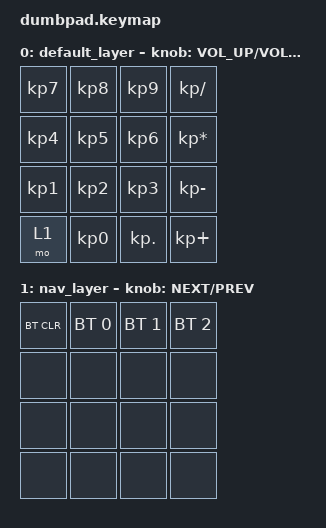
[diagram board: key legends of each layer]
#include <behaviors.dtsi>
#include <dt-bindings/zmk/keys.h>
#include <dt-bindings/zmk/bt.h>

/ {
    keymap {
        compatible = "zmk,keymap";

        default_layer {
            bindings = <
                &kp KP_N7    &kp KP_N8    &kp KP_N9    &kp KP_DIVIDE
                &kp KP_N4    &kp KP_N5    &kp KP_N6    &kp KP_MULTIPLY
                &kp KP_N1    &kp KP_N2    &kp KP_N3    &kp KP_MINUS
                &mo 1        &kp KP_N0    &kp KP_DOT   &kp KP_PLUS
            >;

            sensor-bindings = <&inc_dec_kp C_VOL_UP C_VOL_DN>;
        };

        nav_layer {
            bindings = <
                &bt BT_CLR   &bt BT_SEL 0 &bt BT_SEL 1 &bt BT_SEL 2
                &none        &none        &none        &none
                &none        &none        &none        &none
                &none        &none        &none        &none
            >;

            sensor-bindings = <&inc_dec_kp C_NEXT C_PREV>;
        };
    };
};
